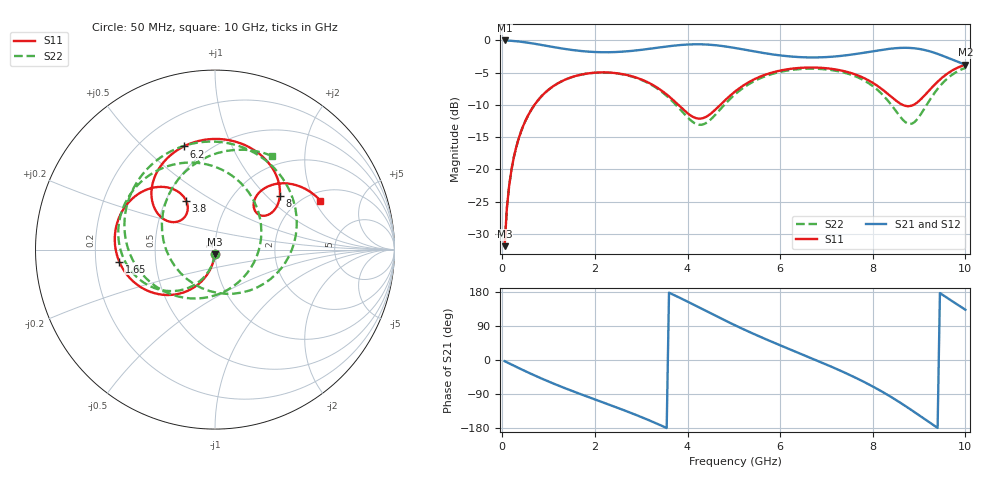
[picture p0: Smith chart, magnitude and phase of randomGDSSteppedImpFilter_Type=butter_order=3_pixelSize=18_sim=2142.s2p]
! freq	dB(S11)	phase(S11)	dB(S12)	phase(S12)
!  dB(S21)	phase(S21)	dB(S22)	phase(S22)
!S-par simulation data
#  GHz  S  DB  R 50
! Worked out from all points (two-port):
!   200 points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, 50 MHz to 10 GHz, reference 50 ohm
!   highest |S21| = -0.01 dB at 50 MHz (marker M1); lowest = -3.8 dB at 10 GHz (marker M2)
!   |S21| within 3 dB of the highest: start of sweep to 9.725 GHz
!   lowest |S11| = -31.9 dB at 50 MHz (marker M3), VSWR 1.05, Z = 49.8 - j2.53 ohm
!   |S11| at or under -10 dB: start of sweep to 695.6 MHz; 3.802 GHz to 4.707 GHz (905.3 MHz wide, 21.3 % of centre); 8.647 GHz to 8.876 GHz (229.7 MHz wide, 2.62 % of centre)
!   |S22| runs from -31.9 to -4.3 dB; largest |S21 - S12| = 0
!   S11 on the Smith chart (normalised r, x): 50 MHz: 1.00, -0.05; 1.65 GHz: 0.30, -0.06; 3.8 GHz: 0.63, +0.38; 6.2 GHz: 0.37, +0.67; 8 GHz: 1.57, +1.20; 10 GHz: 2.38, +2.23
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0.05  -31.91 -92.9  -0.01 -3.1  -0.01 -3.1  -31.91 -93.2
0.1  -25.91 -96.0  -0.02 -6.1  -0.02 -6.1  -25.91 -96.6
0.2  -19.98 -101.9  -0.06 -12.1  -0.06 -12.1  -19.98 -103.1
0.45  -13.28 -116.0  -0.25 -26.8  -0.25 -26.8  -13.29 -118.7
1  -7.64 -144.2  -0.90 -56.8  -0.90 -56.8  -7.64 -150.5
1.65  -5.39 -172.9  -1.61 -88.2  -1.61 -88.2  -5.40 175.4
1.75  -5.23 -176.9  -1.68 -92.8  -1.68 -92.8  -5.24 170.4
2.7  -5.38 147.4  -1.69 -135.9  -1.69 -135.9  -5.42 120.4
3.4  -7.58 125.4  -1.08 -171.3  -1.08 -171.3  -7.73 73.0
3.8  -9.99 120.6  -0.74 166.1  -0.74 166.1  -10.38 33.6
4.5  -11.37 145.4  -0.68 123.3  -0.68 123.3  -12.26 -81.2
5.05  -7.79 145.7  -1.20 90.2  -1.20 90.2  -8.21 -148.3
5.6  -5.52 129.0  -1.90 59.7  -1.90 59.7  -5.78 168.4
6.2  -4.43 106.9  -2.48 28.7  -2.48 28.7  -4.62 129.6
6.7  -4.20 87.7  -2.64 3.4  -2.64 3.4  -4.38 99.1
7.3  -4.64 64.5  -2.41 -28.1  -2.41 -28.1  -4.85 60.5
8  -6.58 39.6  -1.69 -69.9  -1.69 -69.9  -7.08 5.0
8.35  -8.44 33.1  -1.31 -94.1  -1.31 -94.1  -9.55 -34.6
8.75  -10.20 41.2  -1.15 -125.1  -1.15 -125.1  -12.88 -109.2
9.2  -7.90 52.3  -1.63 -162.5  -1.63 -162.5  -9.58 153.0
9.65  -4.95 40.1  -2.78 160.4  -2.78 160.4  -5.67 94.2
10  -3.77 24.9  -3.76 132.6  -3.76 132.6  -4.27 58.6
